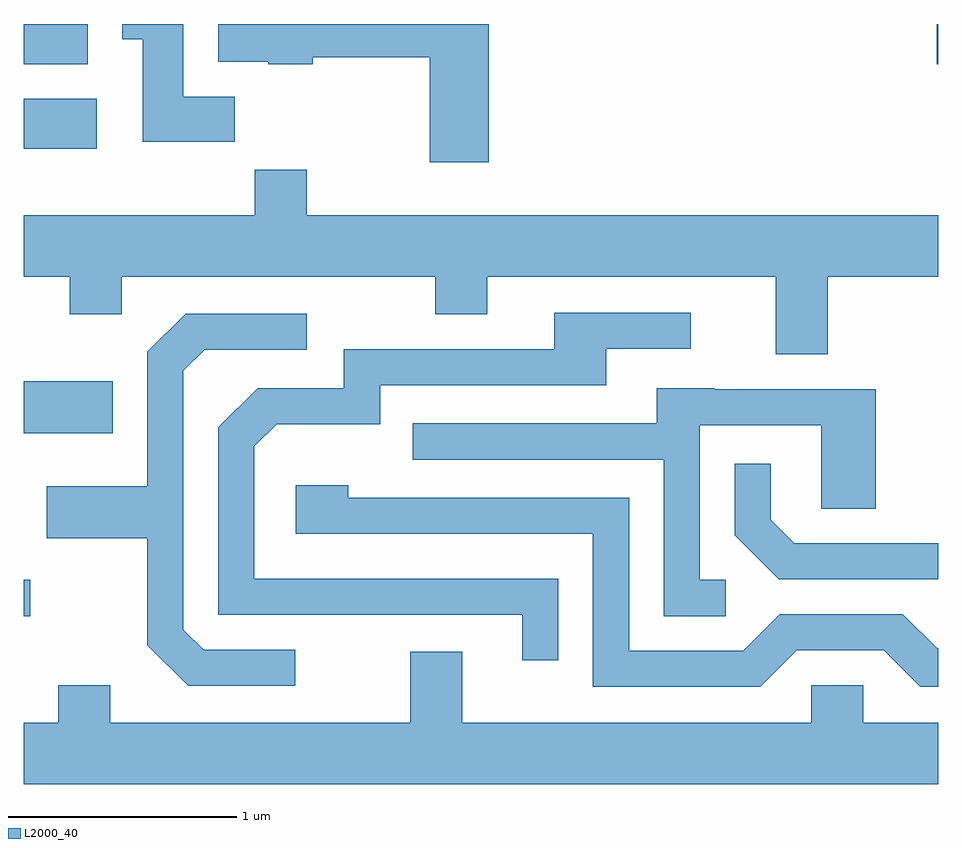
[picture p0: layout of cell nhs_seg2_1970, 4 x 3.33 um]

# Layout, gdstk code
import gdstk
lib = gdstk.Library(unit=1e-6, precision=1e-09)
def R(c, l, rs):  # rectangles x0, y0, x1, y1
    for r in rs: c.add(gdstk.rectangle(r[:2], r[2:], *l))
def P(c, l, *ps):  # polygons
    for p in ps: c.add(gdstk.Polygon(p, *l))
L2000_40 = (2000, 40)

nhs_seg2_1970 = lib.new_cell('nhs_seg2_1970')
R(nhs_seg2_1970, L2000_40, [(241.611,1111.211,241.638,1111.369), (241.611,1112.011,241.999,1112.239), (241.611,1113.256,241.929,1113.474), (241.611,1113.626,241.889,1113.802), (245.606,1113.626,245.611,1113.802)])
P(nhs_seg2_1970, L2000_40, [(243.644,1113.802),(242.461,1113.802),(242.461,1113.636),(242.68,1113.636),(242.68,1113.626),(242.874,1113.626),(242.874,1113.656),(243.386,1113.656),(243.386,1113.196),(243.644,1113.196)],
  [(242.534,1113.484),(242.309,1113.484),(242.309,1113.802),(242.041,1113.802),(242.041,1113.736),(242.131,1113.736),(242.131,1113.286),(242.534,1113.286)],
  [(242.849,1113.164),(242.621,1113.164),(242.621,1112.964),(241.611,1112.964),(241.611,1112.696),(241.811,1112.696),(241.811,1112.531),(242.039,1112.531),(242.039,1112.696),(243.411,1112.696),(243.411,1112.531),(243.639,1112.531),(243.639,1112.696),(244.901,1112.696),(244.901,1112.356),(245.129,1112.356),(245.129,1112.696),(245.611,1112.696),(245.611,1112.964),(242.849,1112.964)],
  [(243.949,1111.374),(242.619,1111.374),(242.619,1111.954),(242.717,1112.051),(243.169,1112.051),(243.169,1112.221),(244.159,1112.221),(244.159,1112.381),(244.528,1112.381),(244.528,1112.539),(243.931,1112.539),(243.931,1112.379),(243.011,1112.379),(243.011,1112.209),(242.634,1112.209),(242.461,1112.037),(242.461,1111.216),(243.791,1111.216),(243.791,1111.018),(243.949,1111.018)],
  [(242.798,1111.064),(242.397,1111.064),(242.309,1111.152),(242.309,1112.284),(242.402,1112.376),(242.848,1112.376),(242.848,1112.534),(242.319,1112.534),(242.151,1112.367),(242.151,1111.779),(241.711,1111.779),(241.711,1111.551),(242.151,1111.551),(242.151,1111.084),(242.329,1110.906),(242.798,1110.906)],
  [(244.683,1111.369),(244.569,1111.369),(244.569,1112.046),(245.101,1112.046),(245.101,1111.681),(245.339,1111.681),(245.339,1112.204),(244.635,1112.204),(244.635,1112.209),(244.381,1112.209),(244.381,1112.054),(243.313,1112.054),(243.313,1111.896),(244.411,1111.896),(244.411,1111.211),(244.683,1111.211)],
  [(245.611,1111.529),(244.982,1111.529),(244.879,1111.632),(244.879,1111.878),(244.721,1111.878),(244.721,1111.564),(244.914,1111.371),(245.611,1111.371)],
  [(244.992,1111.061),(245.374,1111.061),(245.534,1110.901),(245.611,1110.901),(245.611,1111.069),(245.607,1111.069),(245.457,1111.219),(244.919,1111.219),(244.759,1111.059),(244.259,1111.059),(244.259,1111.729),(243.029,1111.729),(243.029,1111.784),(242.801,1111.784),(242.801,1111.571),(244.101,1111.571),(244.101,1110.901),(244.832,1110.901)],
  [(245.611,1110.744),(245.284,1110.744),(245.284,1110.909),(245.056,1110.909),(245.056,1110.744),(243.529,1110.744),(243.529,1111.054),(243.301,1111.054),(243.301,1110.744),(241.989,1110.744),(241.989,1110.909),(241.761,1110.909),(241.761,1110.744),(241.611,1110.744),(241.611,1110.476),(245.611,1110.476)])

lib.write_gds('nhs_seg2_1970.gds')
